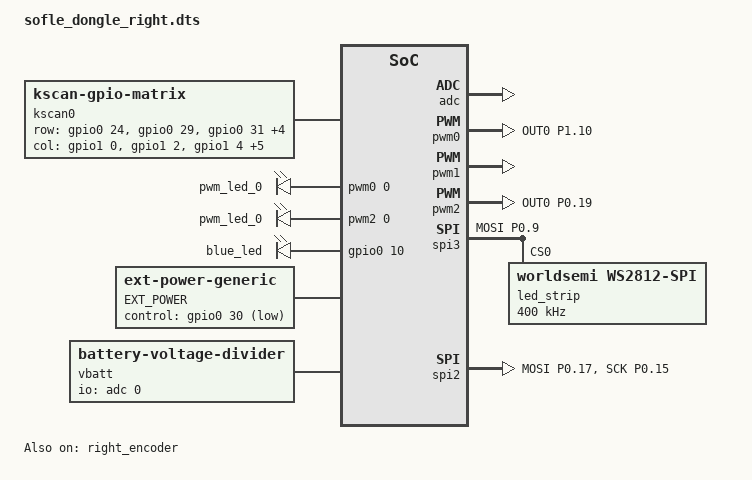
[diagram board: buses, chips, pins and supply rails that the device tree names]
/*
*
* Copyright (c) 2025 ZitaoTech
* SPDX-License-Identifier: MIT
*
*/

#include "sofle_dongle.dtsi"

/ {
    chosen {
        zmk,backlight = &backlight;
        zmk,battery = &vbatt;
        zmk,keyboard_backlight = &keyboard_backlight;
        zmk,underglow = &led_strip;
    }; 
    kscan0: kscan {
        compatible = "zmk,kscan-gpio-matrix";
        diode-direction = "col2row";
        wakeup-source;
        row-gpios
            = <&gpio0 24 (GPIO_ACTIVE_HIGH | GPIO_PULL_DOWN)>
            , <&gpio0 29  (GPIO_ACTIVE_HIGH | GPIO_PULL_DOWN)>
            , <&gpio0 31 (GPIO_ACTIVE_HIGH | GPIO_PULL_DOWN)>
            , <&gpio0 3  (GPIO_ACTIVE_HIGH | GPIO_PULL_DOWN)>
            , <&gpio0 26  (GPIO_ACTIVE_HIGH | GPIO_PULL_DOWN)>
            , <&gpio0 12  (GPIO_ACTIVE_HIGH | GPIO_PULL_DOWN)>
            , <&gpio1 9  (GPIO_ACTIVE_HIGH | GPIO_PULL_DOWN)>
            ;
        col-gpios
            = <&gpio1 0  GPIO_ACTIVE_HIGH>
            , <&gpio1 2  GPIO_ACTIVE_HIGH>
            , <&gpio1 4  GPIO_ACTIVE_HIGH>
            , <&gpio1 15 GPIO_ACTIVE_HIGH>
            , <&gpio1 14 GPIO_ACTIVE_HIGH>
            , <&gpio0 28 GPIO_ACTIVE_HIGH>
            , <&gpio0 5 GPIO_ACTIVE_HIGH>
            , <&gpio0 27 GPIO_ACTIVE_HIGH>
            ;
    };

    keyboard_backlight: pwmledfo{
        compatible = "pwm-leds";
        pwm_led_0 {
            pwms = <&pwm0 0 PWM_USEC(2000) PWM_POLARITY_NORMAL>;
        };
    };
    
    backlight: pwmleds {
        compatible = "pwm-leds";
        pwm_led_0 {
            pwms = <&pwm2 0 PWM_MSEC(10) PWM_POLARITY_NORMAL>;
        };
    };


    leds {
        compatible = "gpio-leds";
        blue_led: led_0 {
            gpios = <&gpio0 10 GPIO_ACTIVE_HIGH>;
        };
    };
    // Node name must match original "EXT_POWER" label to preserve user settings.
    EXT_POWER {
        compatible = "zmk,ext-power-generic";
        control-gpios = <&gpio0 30 GPIO_ACTIVE_LOW>;
    };
    vbatt: vbatt {
        compatible = "zmk,battery-voltage-divider";
        io-channels = <&adc 0>;
        output-ohms = <2000000>;
        full-ohms = <2820000>;  // 2000000 + 820000
    };


};

&default_transform {
    col-offset = <9>;
};

&adc {
    status = "okay";
};

&gpiote {
    status = "okay";
};

&gpio0 {
    status = "okay";
};

&gpio1 {
    status = "okay";
};

&pwm0 {
    status = "okay";
    pinctrl-0 = <&pwm0_default>;
    pinctrl-1 = <&pwm0_sleep>;
    pinctrl-names = "default", "sleep";
};

&pwm1 {
    status = "okay";
    pinctrl-0 = <&pwm1_default>;
    pinctrl-1 = <&pwm1_sleep>;
    pinctrl-names = "default", "sleep";
};

&pwm2 {
    status = "okay";
    pinctrl-0 = <&pwm2_default>;
    pinctrl-1 = <&pwm2_sleep>;
    pinctrl-names = "default", "sleep";
};


/ {
    split_inputs {
        #address-cells = <1>;
        #size-cells = <0>;

        /* BB Trackball */
        trackpoint_split: trackpoint_split@0 {
            compatible = "zmk,input-split";
            reg = <0>;
        };

    };

    /* Listeners */
    trackpoint_listener: trackpoint_listener {
        compatible = "zmk,input-listener";
        status = "disabled";
        device = <&trackpoint_split>;
    };

};


&right_encoder {
    status = "okay";
};

&spi3 {
    compatible = "nordic,nrf-spim";
    status = "okay";

    pinctrl-0 = <&spi3_default>;
    pinctrl-1 = <&spi3_sleep>;
    pinctrl-names = "default", "sleep";

    led_strip: ws2812@0 {
        compatible = "worldsemi,ws2812-spi";
        /* SPI */
        reg = <0>; /* ignored, but necessary for SPI bindings */
        spi-max-frequency = <400000>;
        /* WS2812 */
        chain-length = <1>; /* number of LEDs */
        spi-one-frame = <0x70>;
        spi-zero-frame = <0x40>;
        color-mapping = <LED_COLOR_ID_GREEN
                         LED_COLOR_ID_RED
                         LED_COLOR_ID_BLUE>;
    };
};


lpm_view_spi: &spi2 {
    compatible = "nordic,nrf-spim";
    pinctrl-0 = <&spi2_default>;
    pinctrl-1 = <&spi2_sleep>;
    pinctrl-names = "default", "sleep";
    cs-gpios = <&gpio0 13 (GPIO_ACTIVE_HIGH | GPIO_PULL_DOWN) >;
};


&pinctrl {

        spi3_default: spi3_default {
        group1 {
            psels = <NRF_PSEL(SPIM_MOSI, 0, 9)>;    // Setting for RGB light, unreal
        };
    };

    spi3_sleep: spi3_sleep {
        group1 {
            psels = <NRF_PSEL(SPIM_MOSI, 0, 9)>;
            low-power-enable;
        };
    };

    pwm0_default:pwm0_default{
        group1{
            psels = <NRF_PSEL(PWM_OUT0, 1, 10)>; // Keyboard backlight
        };
    };

    pwm0_sleep: pwm0_sleep {
        group1 {
            psels = <NRF_PSEL(PWM_OUT0, 1, 10)>;
            bias-pull-down;
        };
    };

    pwm2_default: pwm2_default {
        group1 {
            psels = <NRF_PSEL(PWM_OUT0, 0, 19)>; // unreal backlight gpio
        };
    };

    pwm2_sleep: pwm2_sleep {
        group1 {
            psels = <NRF_PSEL(PWM_OUT0, 0, 19)>;
            bias-pull-down;
        };
    };

    spi2_default: spi2_default {
        group1 {
            psels = <NRF_PSEL(SPIM_MOSI, 0, 17)>,
            <NRF_PSEL(SPIM_SCK, 0, 15)>;
        };
    };
    spi2_sleep: spi2_sleep {
        group1 {
            psels = <NRF_PSEL(SPIM_MOSI, 0, 17)>,
            <NRF_PSEL(SPIM_SCK, 0, 15)>;
            low-power-enable;
        };
    };

};
